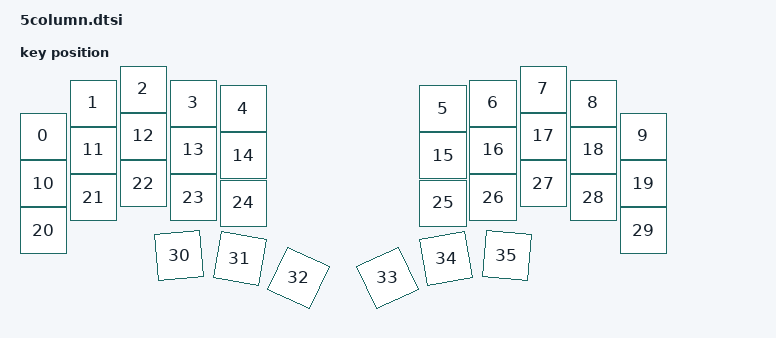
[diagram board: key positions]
#include <layouts/beekeeb/piantor/position_map.dtsi>
#include <physical_layouts.dtsi>

/ {
    beekeeb_piantor_5col_layout: beekeeb_piantor_5col_layout {
        compatible = "zmk,physical-layout";
        display-name = "5 Column";

        keys  //                     w   h    x    y     rot    rx    ry
            = <&key_physical_attrs 100 100    0   94       0     0     0>
            , <&key_physical_attrs 100 100  100   28       0     0     0>
            , <&key_physical_attrs 100 100  200    0       0     0     0>
            , <&key_physical_attrs 100 100  300   28       0     0     0>
            , <&key_physical_attrs 100 100  400   39       0     0     0>
            , <&key_physical_attrs 100 100  800   39       0     0     0>
            , <&key_physical_attrs 100 100  900   28       0     0     0>
            , <&key_physical_attrs 100 100 1000    0       0     0     0>
            , <&key_physical_attrs 100 100 1100   28       0     0     0>
            , <&key_physical_attrs 100 100 1200   94       0     0     0>
            , <&key_physical_attrs 100 100    0  189       0     0     0>
            , <&key_physical_attrs 100 100  100  122       0     0     0>
            , <&key_physical_attrs 100 100  200   94       0     0     0>
            , <&key_physical_attrs 100 100  300  122       0     0     0>
            , <&key_physical_attrs 100 100  400  133       0     0     0>
            , <&key_physical_attrs 100 100  800  133       0     0     0>
            , <&key_physical_attrs 100 100  900  122       0     0     0>
            , <&key_physical_attrs 100 100 1000   94       0     0     0>
            , <&key_physical_attrs 100 100 1100  122       0     0     0>
            , <&key_physical_attrs 100 100 1200  189       0     0     0>
            , <&key_physical_attrs 100 100    0  283       0     0     0>
            , <&key_physical_attrs 100 100  100  217       0     0     0>
            , <&key_physical_attrs 100 100  200  189       0     0     0>
            , <&key_physical_attrs 100 100  300  217       0     0     0>
            , <&key_physical_attrs 100 100  400  228       0     0     0>
            , <&key_physical_attrs 100 100  800  228       0     0     0>
            , <&key_physical_attrs 100 100  900  217       0     0     0>
            , <&key_physical_attrs 100 100 1000  189       0     0     0>
            , <&key_physical_attrs 100 100 1100  217       0     0     0>
            , <&key_physical_attrs 100 100 1200  283       0     0     0>
            , <&key_physical_attrs 100 100  272  333    (-500)  322   383>
            , <&key_physical_attrs 100 100  394  339    1000   444   389>
            , <&key_physical_attrs 100 100  511  378    2500   561   428>
            , <&key_physical_attrs 100 100  689  378  (-2500)  739   428>
            , <&key_physical_attrs 100 100  806  339  (-1000)  856   389>
            , <&key_physical_attrs 100 100  928  333     500   978   383>
            ;
    };
};

&layouts_beekeeb_piantor_position_map {
    beekeeb_piantor_5col_posmap: five {
        physical-layout = <&beekeeb_piantor_5col_layout>;
        positions
            = <36  0  1  2  3  4  5  6  7  8  9 37>
            , <38 10 11 12 13 14 15 16 17 18 19 39>
            , <40 20 21 22 23 24 25 26 27 28 29 41>
            , <         30 31 32 33 34 35         >;
    };
};
